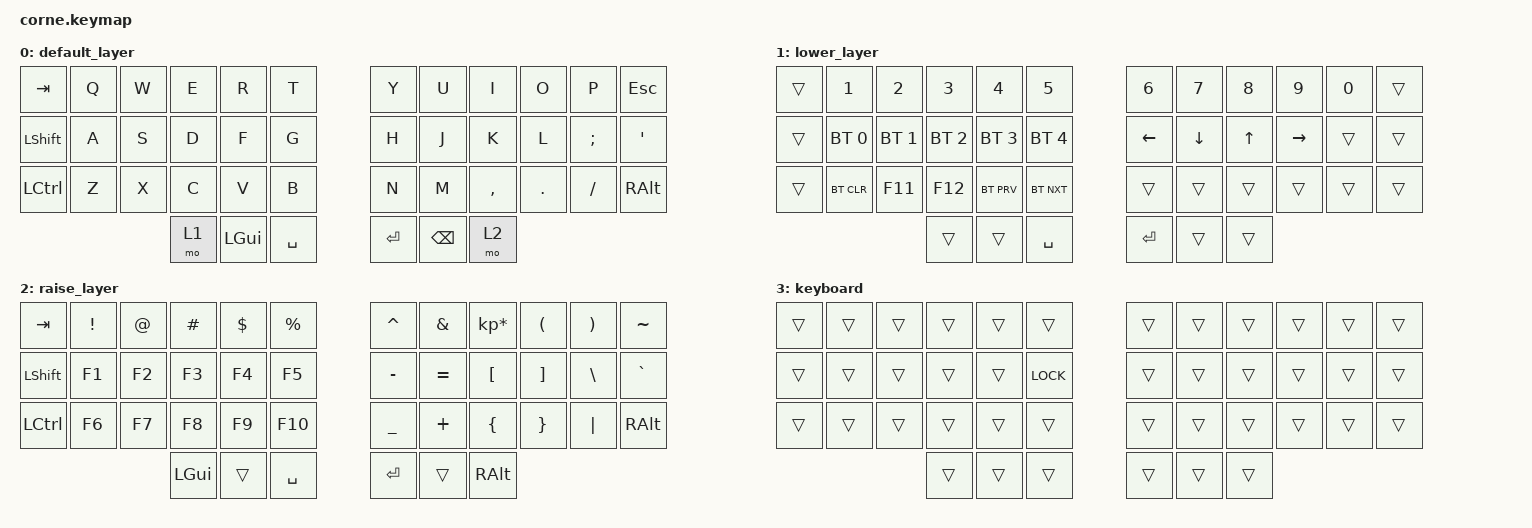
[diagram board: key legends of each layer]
/*
 * Copyright (c) 2020 The ZMK Contributors
 *
 * SPDX-License-Identifier: MIT
 */

#include <behaviors.dtsi>
#include <dt-bindings/zmk/bt.h>
#include <dt-bindings/zmk/keys.h>

/ {
    keymap {
        compatible = "zmk,keymap";

        default_layer {

            bindings = <
  &kp TAB  &kp Q  &kp W  &kp E         &kp R      &kp T      &kp Y          &kp U      &kp I    &kp O          &kp P   &kp ESC
&kp LSHFT  &kp A  &kp S  &kp D         &kp F      &kp G      &kp H          &kp J      &kp K    &kp L  &kp SEMICOLON   &kp SQT
&kp LCTRL  &kp Z  &kp X  &kp C         &kp V      &kp B      &kp N          &kp M  &kp COMMA  &kp DOT       &kp FSLH  &kp RALT
                         &mo 1  &kp LEFT_GUI  &kp SPACE    &kp RET  &kp BACKSPACE     &mo 2
            >;
        };

        lower_layer {
            // -----------------------------------------------------------------------------------------
            // |  TAB |  1  |  2  |  3  |  4  |  5  |   |  6  |  7  |  8  |  9  |  0  | BKSP |
            // | BT0| BT1 | BT2 | BT3 | BT4 | BT5 |   | LFT | DWN |  UP | RGT |     |      |
            // | BTCLR |     |     |     |     |     |   |     |     |     |     |     |      |
            //                    | GUI |     | SPC |   | ENT |     | ALT |

            bindings = <
&trans        &kp N1        &kp N2        &kp N3        &kp N4        &kp N5      &kp N6    &kp N7  &kp N8     &kp N9  &kp N0  &trans
&trans  &bt BT_SEL 0  &bt BT_SEL 1  &bt BT_SEL 2  &bt BT_SEL 3  &bt BT_SEL 4    &kp LEFT  &kp DOWN  &kp UP  &kp RIGHT  &trans  &trans
&trans    &bt BT_CLR       &kp F11       &kp F12    &bt BT_PRV    &bt BT_NXT      &trans    &trans  &trans     &trans  &trans  &trans
                                          &trans        &trans     &kp SPACE     &kp RET    &trans  &trans
            >;
        };

        raise_layer {
            // -----------------------------------------------------------------------------------------
            // |  TAB |  !  |  @  |  #  |  $  |  %  |   |  ^  |  &  |  *  |  (  |  )  | BKSP |
            // | CTRL |     |     |     |     |     |   |  -  |  =  |  [  |  ]  |  \  |  `   |
            // | SHFT |     |     |     |     |     |   |  _  |  +  |  {  |  }  | "|" |  ~   |
            //                    | GUI |     | SPC |   | ENT |     | ALT |

            bindings = <
  &kp TAB  &kp EXCL  &kp AT  &kp HASH  &kp DLLR  &kp PRCNT    &kp CARET   &kp AMPS  &kp KP_MULTIPLY  &kp LPAR  &kp RPAR  &kp TILDE
&kp LSHFT    &kp F1  &kp F2    &kp F3    &kp F4     &kp F5    &kp MINUS  &kp EQUAL         &kp LBKT  &kp RBKT  &kp BSLH  &kp GRAVE
&kp LCTRL    &kp F6  &kp F7    &kp F8    &kp F9    &kp F10    &kp UNDER   &kp PLUS         &kp LBRC  &kp RBRC  &kp PIPE   &kp RALT
                             &kp LGUI    &trans  &kp SPACE      &kp RET     &trans         &kp RALT
            >;
        };

        keyboard {
            bindings = <
&trans  &trans  &trans  &trans  &trans      &trans    &trans  &trans  &trans  &trans  &trans  &trans
&trans  &trans  &trans  &trans  &trans  &kp K_LOCK    &trans  &trans  &trans  &trans  &trans  &trans
&trans  &trans  &trans  &trans  &trans      &trans    &trans  &trans  &trans  &trans  &trans  &trans
                        &trans  &trans      &trans    &trans  &trans  &trans
            >;
        };
    };
};
